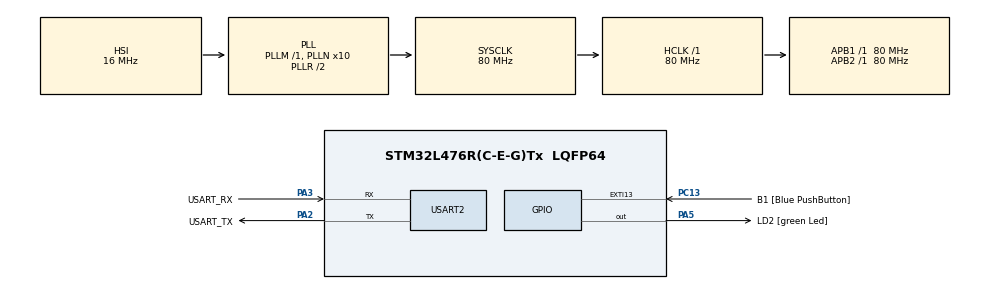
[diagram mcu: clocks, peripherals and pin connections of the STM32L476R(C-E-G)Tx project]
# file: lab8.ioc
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Mcu.Family=STM32L4
Mcu.Name=STM32L476R(C-E-G)Tx
Mcu.Package=LQFP64
NVIC.PriorityGroup=NVIC_PRIORITYGROUP_4
PA13\ (JTMS-SWDIO).GPIO_Label=TMS
PA13\ (JTMS-SWDIO).Mode=Serial_Wire
PA13\ (JTMS-SWDIO).Signal=SYS_JTMS-SWDIO
PA14\ (JTCK-SWCLK).GPIO_Label=TCK
PA14\ (JTCK-SWCLK).Mode=Serial_Wire
PA14\ (JTCK-SWCLK).Signal=SYS_JTCK-SWCLK
PA2.GPIO_Label=USART_TX
PA2.GPIO_Mode=GPIO_MODE_AF_PP
PA2.GPIO_PuPd=GPIO_NOPULL
PA2.GPIO_Speed=GPIO_SPEED_FREQ_VERY_HIGH
PA2.Mode=Asynchronous
PA2.Signal=USART2_TX
PA3.GPIO_Label=USART_RX
PA3.GPIO_Mode=GPIO_MODE_AF_PP
PA3.GPIO_PuPd=GPIO_NOPULL
PA3.GPIO_Speed=GPIO_SPEED_FREQ_VERY_HIGH
PA3.Mode=Asynchronous
PA3.Signal=USART2_RX
PA5.GPIO_Label=LD2 [green Led]
PA5.GPIO_ModeDefaultOutputPP=GPIO_MODE_OUTPUT_PP
PA5.GPIO_PuPd=GPIO_NOPULL
PA5.GPIO_Speed=GPIO_SPEED_FREQ_LOW
PA5.Signal=GPIO_Output
PB3\ (JTDO-TRACESWO).GPIO_Label=SWO
PB3\ (JTDO-TRACESWO).Signal=SYS_JTDO-SWO
PC13.GPIO_Label=B1 [Blue PushButton]
PC13.GPIO_ModeDefaultEXTI=GPIO_MODE_IT_FALLING
PC13.GPIO_PuPd=GPIO_NOPULL
PC13.Signal=GPXTI13
PC14-OSC32_IN\ (PC14).Mode=LSE-External-Oscillator
PC14-OSC32_IN\ (PC14).Signal=RCC_OSC32_IN
PC15-OSC32_OUT\ (PC15).Mode=LSE-External-Oscillator
PC15-OSC32_OUT\ (PC15).Signal=RCC_OSC32_OUT
PH0-OSC_IN\ (PH0).Signal=RCC_OSC_IN
PH1-OSC_OUT\ (PH1).Signal=RCC_OSC_OUT
ProjectManager.HeapSize=0x200
ProjectManager.StackSize=0x400
ProjectManager.TargetToolchain=STM32CubeIDE
RCC.ADCFreq_Value=64000000
RCC.AHBFreq_Value=80000000
RCC.APB1Freq_Value=80000000
RCC.APB1TimFreq_Value=80000000
RCC.APB2Freq_Value=80000000
RCC.APB2TimFreq_Value=80000000
RCC.CortexFreq_Value=80000000
RCC.HCLKFreq_Value=80000000
RCC.HSE_VALUE=8000000
RCC.HSI_VALUE=16000000
RCC.MSI_VALUE=4000000
RCC.PLLN=10
RCC.PLLSourceVirtual=RCC_PLLSOURCE_HSI
RCC.PREFETCH_ENABLE=1
RCC.SYSCLKFreq_VALUE=80000000
RCC.SYSCLKSource=RCC_SYSCLKSOURCE_PLLCLK
RCC.USBFreq_Value=64000000
RCC.VCOOutputFreq_Value=160000000
USART2.VirtualMode-Asynchronous=VM_ASYNC
board=NUCLEO-L476RG

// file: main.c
/* USER CODE BEGIN Header */

/**

  ******************************************************************************

  * @file           : main.c

  * @brief          : Main program body

  ******************************************************************************

  * @attention

  *

  * Copyright (c) 2024 STMicroelectronics.

  * All rights reserved.

  *

  * This software is licensed under terms that can be found in the LICENSE file

  * in the root directory of this software component.

  * If no LICENSE file comes with this software, it is provided AS-IS.

  *

  ******************************************************************************

  */

/* USER CODE END Header */

#include "main.h"
#include "arm_math.h"

/* USER CODE BEGIN PD */

#define FFT_LENGTH 2048
#define SAMPLING_RATE 16384

#define N_TAPS 32
#define N_BLOCK 32

/* USER CODE END PD */

UART_HandleTypeDef huart2;

/* USER CODE BEGIN PV */

float32_t input_signal[FFT_LENGTH];
float32_t output_fft[FFT_LENGTH];
float32_t output_fft_mag[FFT_LENGTH/2];
float32_t output_freq[FFT_LENGTH/2];
arm_rfft_fast_instance_f32 fft_handler;
arm_fir_instance_f32 filter1;

float32_t filtered_signal[FFT_LENGTH];
float32_t State[N_TAPS+N_BLOCK-1];

static float32_t Coeffs[N_TAPS] ={
		0.0011941891208536502, -0.00876152006300587, -0.009961703919909517,
		-0.013193402076490045, -0.015492627250975066, -0.01549845408825229, -0.0121205759566468,
		-0.0045643913697419915, 0.007499690065425314, 0.023740321732768438, 0.04318236084500159,
		0.06421691958282878, 0.08481287421470725, 0.1027807944049047, 0.1160877841546519, 0.12316626707898608,
		0.12316626707898608, 0.1160877841546519, 0.1027807944049047, 0.08481287421470725, 0.06421691958282878, 0.04318236084500159,
		0.023740321732768438, 0.007499690065425314, -0.0045643913697419915, -0.0121205759566468, -0.01549845408825229, -0.015492627250975066,
		-0.013193402076490045, -0.009961703919909517, -0.00876152006300587, 0.0011941891208536502
};

/* USER CODE END PV */

void SystemClock_Config(void);

static void MX_GPIO_Init(void);

static void MX_USART2_UART_Init(void);

int main(void)

{

  /* MCU Configuration--------------------------------------------------------*/

  /* Reset of all peripherals, Initializes the Flash interface and the Systick. */

  HAL_Init();

  /* Configure the system clock */

  SystemClock_Config();

  /* Initialize all configured peripherals */

  MX_GPIO_Init();

  MX_USART2_UART_Init();

  /* USER CODE BEGIN 2 */

  arm_rfft_fast_init_f32(&fft_handler, FFT_LENGTH);
  for (int i=0; i<FFT_LENGTH; i++)
  {
  input_signal[i] = input_signal[i] = arm_cos_f32(2*PI*400*i/SAMPLING_RATE) + arm_cos_f32(2*PI*2000*i/SAMPLING_RATE);
  }
  for (int i=0; i<FFT_LENGTH/2; i++)
  {
  output_freq[i] = (float32_t)(i) / FFT_LENGTH * SAMPLING_RATE;
  }
  arm_fir_init_f32(&filter1, N_TAPS, &Coeffs[0], &State[0], N_BLOCK);

  for (int i=0; i<(FFT_LENGTH/N_BLOCK); i++){
  arm_fir_f32(&filter1, &input_signal[i*N_BLOCK], &filtered_signal[i*N_BLOCK],
  N_BLOCK);
  }

  arm_rfft_fast_f32(&fft_handler, filtered_signal, output_fft,0);
  arm_cmplx_mag_f32(output_fft, output_fft_mag, FFT_LENGTH/2);

  /* USER CODE END 2 */

  /* Infinite loop */

  while (1)
  {

  }

}

void SystemClock_Config(void)

{

  RCC_OscInitTypeDef RCC_OscInitStruct = {0};

  RCC_ClkInitTypeDef RCC_ClkInitStruct = {0};

  /** Configure the main internal regulator output voltage

  */

  if (HAL_PWREx_ControlVoltageScaling(PWR_REGULATOR_VOLTAGE_SCALE1) != HAL_OK)

  {

    Error_Handler();

  }

  /** Initializes the RCC Oscillators according to the specified parameters

  * in the RCC_OscInitTypeDef structure.

  */

  RCC_OscInitStruct.OscillatorType = RCC_OSCILLATORTYPE_HSI;

  RCC_OscInitStruct.HSIState = RCC_HSI_ON;

  RCC_OscInitStruct.HSICalibrationValue = RCC_HSICALIBRATION_DEFAULT;

  RCC_OscInitStruct.PLL.PLLState = RCC_PLL_ON;

  RCC_OscInitStruct.PLL.PLLSource = RCC_PLLSOURCE_HSI;

  RCC_OscInitStruct.PLL.PLLM = 1;

  RCC_OscInitStruct.PLL.PLLN = 10;

  RCC_OscInitStruct.PLL.PLLP = RCC_PLLP_DIV7;

  RCC_OscInitStruct.PLL.PLLQ = RCC_PLLQ_DIV2;

  RCC_OscInitStruct.PLL.PLLR = RCC_PLLR_DIV2;

  if (HAL_RCC_OscConfig(&RCC_OscInitStruct) != HAL_OK)

  {

    Error_Handler();

  }

  /** Initializes the CPU, AHB and APB buses clocks

  */

  RCC_ClkInitStruct.ClockType = RCC_CLOCKTYPE_HCLK|RCC_CLOCKTYPE_SYSCLK

                              |RCC_CLOCKTYPE_PCLK1|RCC_CLOCKTYPE_PCLK2;

  RCC_ClkInitStruct.SYSCLKSource = RCC_SYSCLKSOURCE_PLLCLK;

  RCC_ClkInitStruct.AHBCLKDivider = RCC_SYSCLK_DIV1;

  RCC_ClkInitStruct.APB1CLKDivider = RCC_HCLK_DIV1;

  RCC_ClkInitStruct.APB2CLKDivider = RCC_HCLK_DIV1;

  if (HAL_RCC_ClockConfig(&RCC_ClkInitStruct, FLASH_LATENCY_4) != HAL_OK)

  {

    Error_Handler();

  }

}

static void MX_USART2_UART_Init(void)

{

  huart2.Instance = USART2;

  huart2.Init.BaudRate = 115200;

  huart2.Init.WordLength = UART_WORDLENGTH_8B;

  huart2.Init.StopBits = UART_STOPBITS_1;

  huart2.Init.Parity = UART_PARITY_NONE;

  huart2.Init.Mode = UART_MODE_TX_RX;

  huart2.Init.HwFlowCtl = UART_HWCONTROL_NONE;

  huart2.Init.OverSampling = UART_OVERSAMPLING_16;

  huart2.Init.OneBitSampling = UART_ONE_BIT_SAMPLE_DISABLE;

  huart2.AdvancedInit.AdvFeatureInit = UART_ADVFEATURE_NO_INIT;

  if (HAL_UART_Init(&huart2) != HAL_OK)

  {

    Error_Handler();

  }

}

static void MX_GPIO_Init(void)

{

  GPIO_InitTypeDef GPIO_InitStruct = {0};

  /* GPIO Ports Clock Enable */

  __HAL_RCC_GPIOC_CLK_ENABLE();

  __HAL_RCC_GPIOH_CLK_ENABLE();

  __HAL_RCC_GPIOA_CLK_ENABLE();

  __HAL_RCC_GPIOB_CLK_ENABLE();

  /*Configure GPIO pin Output Level */

  HAL_GPIO_WritePin(LD2_GPIO_Port, LD2_Pin, GPIO_PIN_RESET);

  /*Configure GPIO pin : B1_Pin */

  GPIO_InitStruct.Pin = B1_Pin;

  GPIO_InitStruct.Mode = GPIO_MODE_IT_FALLING;

  GPIO_InitStruct.Pull = GPIO_NOPULL;

  HAL_GPIO_Init(B1_GPIO_Port, &GPIO_InitStruct);

  /*Configure GPIO pin : LD2_Pin */

  GPIO_InitStruct.Pin = LD2_Pin;

  GPIO_InitStruct.Mode = GPIO_MODE_OUTPUT_PP;

  GPIO_InitStruct.Pull = GPIO_NOPULL;

  GPIO_InitStruct.Speed = GPIO_SPEED_FREQ_LOW;

  HAL_GPIO_Init(LD2_GPIO_Port, &GPIO_InitStruct);

}

void Error_Handler(void)

{

  __disable_irq();
  while (1)
  {
  }

}
